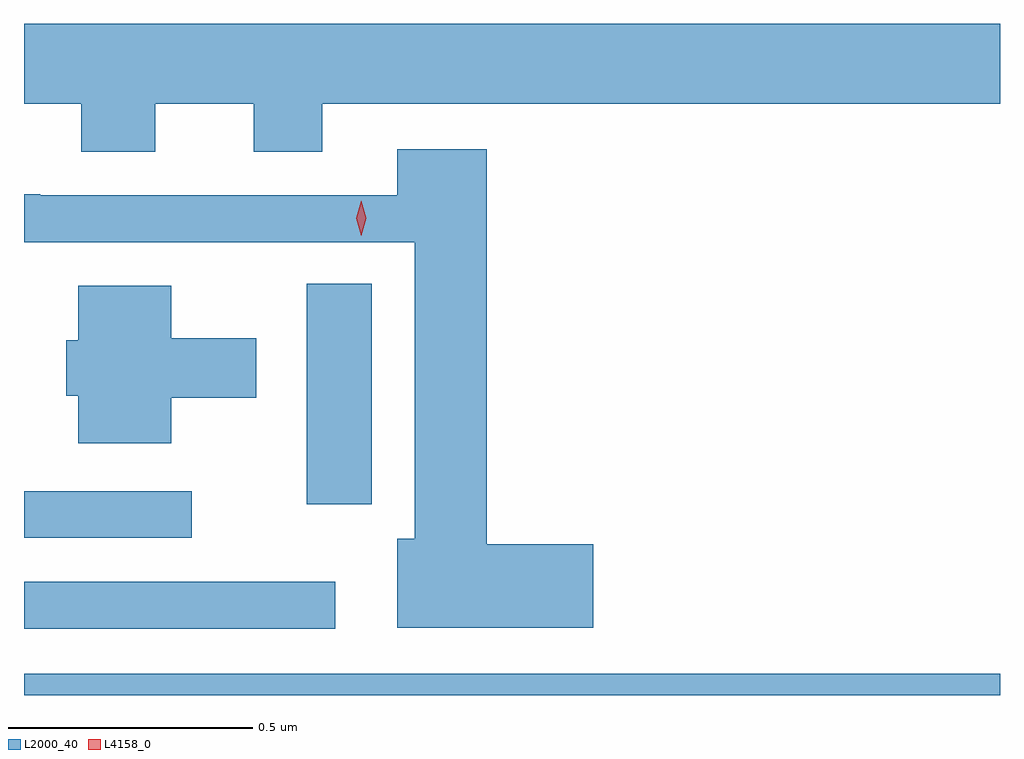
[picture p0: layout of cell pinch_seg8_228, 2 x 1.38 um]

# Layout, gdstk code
import gdstk
lib = gdstk.Library(unit=1e-6, precision=1e-09)
def R(c, l, rs):  # rectangles x0, y0, x1, y1
    for r in rs: c.add(gdstk.rectangle(r[:2], r[2:], *l))
def P(c, l, *ps):  # polygons
    for p in ps: c.add(gdstk.Polygon(p, *l))
L2000_40 = (2000, 40)
L4158_0 = (4158, 0)

pinch_seg8_228 = lib.new_cell('pinch_seg8_228')
R(pinch_seg8_228, L2000_40, [(684.029,1101.967,686.029,1102.012), (684.029,1102.104,684.667,1102.2), (684.029,1102.29,684.373,1102.386), (684.608,1102.359,684.742,1102.811)])
P(pinch_seg8_228, L2000_40, [(684.298,1103.18),(684.5,1103.18),(684.5,1103.081),(684.64,1103.081),(684.64,1103.18),(686.029,1103.18),(686.029,1103.344),(684.029,1103.344),(684.029,1103.18),(684.146,1103.18),(684.146,1103.081),(684.298,1103.081)],
  [(685.195,1102.277),(684.977,1102.277),(684.977,1103.086),(684.794,1103.086),(684.794,1102.992),(684.062,1102.992),(684.062,1102.994),(684.029,1102.994),(684.029,1102.896),(684.83,1102.896),(684.83,1102.288),(684.794,1102.288),(684.794,1102.106),(685.195,1102.106)],
  [(684.331,1102.577),(684.505,1102.577),(684.505,1102.699),(684.331,1102.699),(684.331,1102.807),(684.14,1102.807),(684.14,1102.695),(684.116,1102.695),(684.116,1102.581),(684.14,1102.581),(684.14,1102.484),(684.331,1102.484)])
P(pinch_seg8_228, L4158_0, [(684.72,1102.909),(684.72,1102.909),(684.71,1102.945),(684.72,1102.981),(684.72,1102.981),(684.72,1102.981),(684.73,1102.945),(684.72,1102.909)])

lib.write_gds('pinch_seg8_228.gds')
